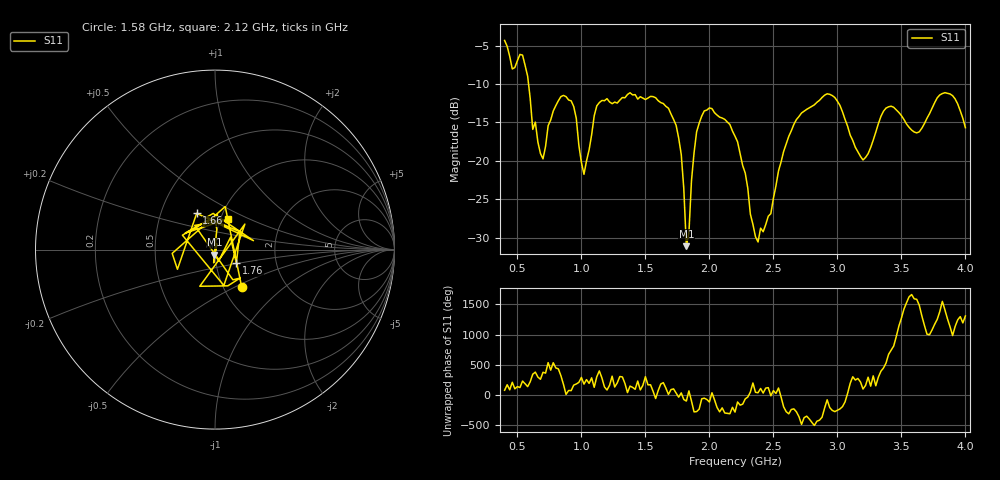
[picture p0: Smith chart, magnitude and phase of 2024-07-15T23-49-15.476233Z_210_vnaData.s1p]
!Created with skrf (http://scikit-rf.org).
# Hz S RI R 50.0
!freq ReS11 ImS11
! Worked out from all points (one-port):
!   181 points, 400 MHz to 4 GHz, reference 50 ohm
!   lowest |S11| = -31.1 dB at 1.82 GHz (marker M1), VSWR 1.06, Z = 49.6 - j2.75 ohm
!   |S11| at or under -10 dB: 587.1 MHz to end of sweep
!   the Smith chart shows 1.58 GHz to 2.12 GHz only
!   S11 on the Smith chart (normalised r, x): 1.58 GHz: 1.22, -0.55; 1.66 GHz: 0.76, +0.32; 1.76 GHz: 1.25, -0.19; 2.12 GHz: 1.09, +0.39
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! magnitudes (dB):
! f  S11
! 400 MHz  -4.3
! 460 MHz  -8.0
! 540 MHz  -6.2
! 620 MHz  -15.9
! 700 MHz  -19.7
! 860 MHz  -11.5
! 940 MHz  -12.9
! 1.02 GHz  -21.7
! 1.12 GHz  -12.8
! 1.3 GHz  -12.1
! 1.58 GHz  -11.8
! 1.66 GHz  -12.9
! 1.76 GHz  -17.0
! 1.8 GHz  -23.6
! 1.82 GHz  -31.1
! 1.88 GHz  -19.0
! 1.92 GHz  -15.1
! 2.12 GHz  -14.6
! 2.2 GHz  -16.8
! 2.38 GHz  -30.6
! 2.66 GHz  -15.2
! 2.92 GHz  -11.3
! 3.1 GHz  -16.6
! 3.2 GHz  -19.9
! 3.38 GHz  -13.1
! 3.56 GHz  -15.6
! 3.84 GHz  -11.1
! 4 GHz  -15.7
